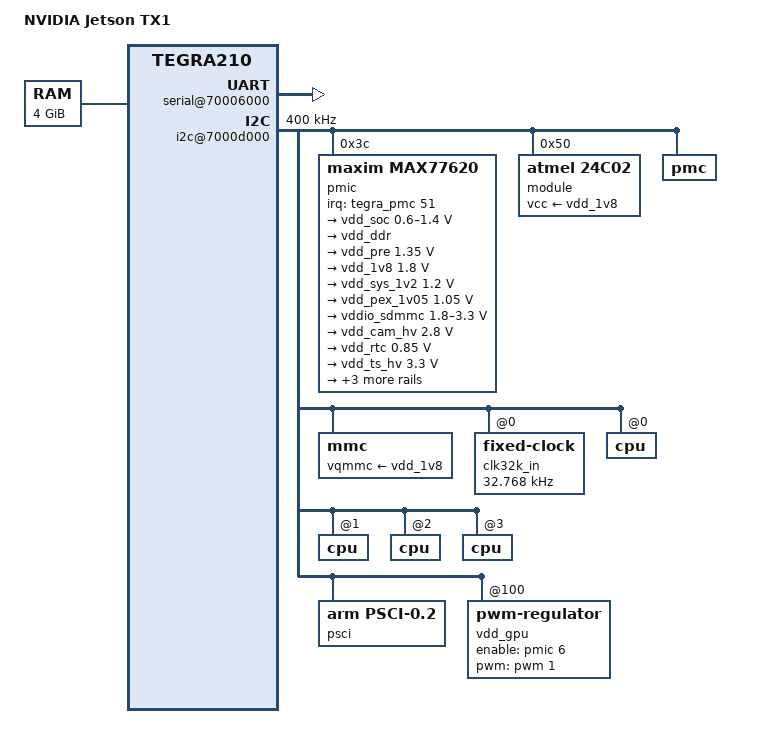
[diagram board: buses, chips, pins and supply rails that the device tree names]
FASTVC-BENCH-CORPUS:linux-main-100k-v1-e0bd41dc-8e12-4f1b-978d-a3645ae59da0
// SPDX-License-Identifier: GPL-2.0
#include <dt-bindings/mfd/max77620.h>

#include "tegra210.dtsi"

/ {
	model = "NVIDIA Jetson TX1";
	compatible = "nvidia,p2180", "nvidia,tegra210";

	aliases {
		rtc0 = "/i2c@7000d000/pmic@3c";
		rtc1 = "/rtc@7000e000";
		serial0 = &uarta;
	};

	chosen {
		stdout-path = "serial0:115200n8";
	};

	memory@80000000 {
		device_type = "memory";
		reg = <0x0 0x80000000 0x1 0x0>;
	};

	gpu@57000000 {
		vdd-supply = <&vdd_gpu>;
	};

	/* debug port */
	serial@70006000 {
		status = "okay";
	};

	i2c@7000d000 {
		status = "okay";
		clock-frequency = <400000>;

		pmic: pmic@3c {
			compatible = "maxim,max77620";
			reg = <0x3c>;
			interrupt-parent = <&tegra_pmc>;
			interrupts = <51 IRQ_TYPE_LEVEL_LOW>;

			#interrupt-cells = <2>;
			interrupt-controller;

			#gpio-cells = <2>;
			gpio-controller;

			pinctrl-names = "default";
			pinctrl-0 = <&max77620_default>;

			max77620_default: pinmux {
				gpio0 {
					pins = "gpio0";
					function = "gpio";
				};

				gpio1 {
					pins = "gpio1";
					function = "fps-out";
					drive-push-pull = <1>;
					maxim,active-fps-source = <MAX77620_FPS_SRC_0>;
					maxim,active-fps-power-up-slot = <7>;
					maxim,active-fps-power-down-slot = <0>;
				};

				gpio2_3 {
					pins = "gpio2", "gpio3";
					function = "fps-out";
					drive-open-drain = <1>;
					maxim,active-fps-source = <MAX77620_FPS_SRC_0>;
				};

				gpio4 {
					pins = "gpio4";
					function = "32k-out1";
				};

				gpio5_6_7 {
					pins = "gpio5", "gpio6", "gpio7";
					function = "gpio";
					drive-push-pull = <1>;
				};
			};

			fps {
				fps0 {
					maxim,fps-event-source = <MAX77620_FPS_EVENT_SRC_EN0>;
					maxim,suspend-fps-time-period-us = <1280>;
				};

				fps1 {
					maxim,fps-event-source = <MAX77620_FPS_EVENT_SRC_EN1>;
					maxim,suspend-fps-time-period-us = <1280>;
				};

				fps2 {
					maxim,fps-event-source = <MAX77620_FPS_EVENT_SRC_EN0>;
				};
			};

			regulators {
				in-ldo0-1-supply = <&vdd_pre>;
				in-ldo7-8-supply = <&vdd_pre>;
				in-sd3-supply = <&vdd_5v0_sys>;

				vdd_soc: sd0 {
					regulator-name = "VDD_SOC";
					regulator-min-microvolt = <600000>;
					regulator-max-microvolt = <1400000>;
					regulator-always-on;
					regulator-boot-on;

					regulator-enable-ramp-delay = <146>;
					regulator-ramp-delay = <27500>;

					maxim,active-fps-source = <MAX77620_FPS_SRC_1>;
				};

				vdd_ddr: sd1 {
					regulator-name = "VDD_DDR_1V1_PMIC";
					regulator-always-on;
					regulator-boot-on;

					regulator-enable-ramp-delay = <130>;
					regulator-ramp-delay = <27500>;

					maxim,active-fps-source = <MAX77620_FPS_SRC_0>;
				};

				vdd_pre: sd2 {
					regulator-name = "VDD_PRE_REG_1V35";
					regulator-min-microvolt = <1350000>;
					regulator-max-microvolt = <1350000>;

					regulator-enable-ramp-delay = <176>;
					regulator-ramp-delay = <27500>;

					maxim,active-fps-source = <MAX77620_FPS_SRC_1>;
				};

				vdd_1v8: sd3 {
					regulator-name = "VDD_1V8";
					regulator-min-microvolt = <1800000>;
					regulator-max-microvolt = <1800000>;
					regulator-always-on;
					regulator-boot-on;

					regulator-enable-ramp-delay = <242>;
					regulator-ramp-delay = <27500>;

					maxim,active-fps-source = <MAX77620_FPS_SRC_0>;
				};

				vdd_sys_1v2: ldo0 {
					regulator-name = "AVDD_SYS_1V2";
					regulator-min-microvolt = <1200000>;
					regulator-max-microvolt = <1200000>;
					regulator-always-on;
					regulator-boot-on;

					regulator-enable-ramp-delay = <26>;
					regulator-ramp-delay = <100000>;

					maxim,active-fps-source = <MAX77620_FPS_SRC_NONE>;
				};

				vdd_pex_1v05: ldo1 {
					regulator-name = "VDD_PEX_1V05";
					regulator-min-microvolt = <1050000>;
					regulator-max-microvolt = <1050000>;

					regulator-enable-ramp-delay = <22>;
					regulator-ramp-delay = <100000>;

					maxim,active-fps-source = <MAX77620_FPS_SRC_1>;
				};

				vddio_sdmmc: ldo2 {
					regulator-name = "VDDIO_SDMMC";
					regulator-min-microvolt = <1800000>;
					regulator-max-microvolt = <3300000>;
					regulator-always-on;
					regulator-boot-on;

					regulator-enable-ramp-delay = <62>;
					regulator-ramp-delay = <100000>;

					maxim,active-fps-source = <MAX77620_FPS_SRC_NONE>;
				};

				vdd_cam_hv: ldo3 {
					regulator-name = "VDD_CAM_HV";
					regulator-min-microvolt = <2800000>;
					regulator-max-microvolt = <2800000>;

					regulator-enable-ramp-delay = <50>;
					regulator-ramp-delay = <100000>;

					maxim,active-fps-source = <MAX77620_FPS_SRC_NONE>;
				};

				vdd_rtc: ldo4 {
					regulator-name = "VDD_RTC";
					regulator-min-microvolt = <850000>;
					regulator-max-microvolt = <850000>;
					regulator-always-on;
					regulator-boot-on;

					regulator-enable-ramp-delay = <22>;
					regulator-ramp-delay = <100000>;

					maxim,active-fps-source = <MAX77620_FPS_SRC_0>;
				};

				vdd_ts_hv: ldo5 {
					regulator-name = "VDD_TS_HV";
					regulator-min-microvolt = <3300000>;
					regulator-max-microvolt = <3300000>;

/* bench 16917.2.0 0a770bf0c082 */
/* bench 16917.2.1 50594fc2dc94 */
/* bench 16917.2.2 25a09b927cd4 */
/* bench 16917.2.3 1bb8aed62167 */
/* bench 16917.2.4 8f4ac17b9034 */
/* bench 16917.2.5 6e5ed1faf74b */
/* bench 16917.2.6 3ef6b79d8382 */
/* bench 16917.2.7 5aa329481e22 */
/* bench 16917.2.8 aae3383e2176 */
/* bench 16917.2.9 b711352ee981 */
/* bench 16917.2.10 a2418dcb980e */
/* bench 16917.2.11 64deba66a58c */
/* bench 16917.2.12 78d7dd4d774d */
/* bench 16917.2.13 cb95a0a35bc4 */
/* bench 16917.2.14 e993147a64df */
/* bench 16917.2.15 da33c08b0b70 */
/* bench 16917.2.16 5421a753ddbd */
/* bench 16917.2.17 b7072fb11a14 */
/* bench 16917.2.18 8c74ef2aac61 */
/* bench 16917.2.19 cb8db3ca2413 */
/* bench 16917.2.20 5d6d7f4cb049 */
/* bench 16917.2.21 f761c5febe7e */

					maxim,active-fps-source = <MAX77620_FPS_SRC_NONE>;
				};

				vdd_ts: ldo6 {
					regulator-name = "VDD_TS_1V8";
					regulator-min-microvolt = <1800000>;
					regulator-max-microvolt = <1800000>;

					regulator-enable-ramp-delay = <36>;
					regulator-ramp-delay = <100000>;

					maxim,active-fps-source = <MAX77620_FPS_SRC_0>;
					maxim,active-fps-power-up-slot = <7>;
/* bench 3952.1.0 c90ddadca5d3 */
/* bench 3952.1.1 848b3317af48 */
/* bench 3952.1.2 cc026fcb9737 */
/* bench 3952.1.3 071f61aa71cb */
/* bench 3952.1.4 e9c4ebe5c655 */
/* bench 3952.1.5 4375f0d30d6e */
/* bench 3952.1.6 cebfcf526cd2 */
/* bench 3952.1.7 b34657318b79 */
/* bench 3952.1.8 205750530ef3 */
/* bench 3952.1.9 fd1c8eb10bfd */
/* bench 3952.1.10 66e5bf88905d */
/* bench 3952.1.11 f1514f58f992 */
/* bench 3952.1.12 321855682eb6 */

				avdd_1v05_pll: ldo7 {
					regulator-name = "AVDD_1V05_PLL";
					regulator-min-microvolt = <1050000>;
					regulator-max-microvolt = <1050000>;
					regulator-always-on;
					regulator-boot-on;

					regulator-enable-ramp-delay = <24>;
					regulator-ramp-delay = <100000>;

					maxim,active-fps-source = <MAX77620_FPS_SRC_1>;
				};

				avdd_1v05: ldo8 {
					regulator-name = "AVDD_SATA_HDMI_DP_1V05";
					regulator-min-microvolt = <1050000>;
					regulator-max-microvolt = <1050000>;

					regulator-enable-ramp-delay = <22>;
					regulator-ramp-delay = <100000>;

					maxim,active-fps-source = <MAX77620_FPS_SRC_1>;
				};
			};
		};
	};

	i2c@7000c500 {
		status = "okay";

		/* module ID EEPROM */
		eeprom@50 {
			compatible = "atmel,24c02";
			reg = <0x50>;

			label = "module";
			vcc-supply = <&vdd_1v8>;
			address-width = <8>;
			pagesize = <8>;
			size = <256>;
			read-only;
		};
	};

	pmc@7000e400 {
		nvidia,invert-interrupt;
/* bench 27557.1.0 b1ca727c056e */
/* bench 27557.1.1 565f4760cae1 */
/* bench 27557.1.2 509a2c96a675 */
/* bench 27557.1.3 fcb1f0e6674d */
/* bench 27557.1.4 0df1c2ae23a0 */
/* bench 27557.1.5 90495ac2d77f */
/* bench 27557.1.6 aa27c7fd68f8 */
/* bench 27557.1.7 759c0042f8e8 */
/* bench 27557.1.8 4c21336bcb48 */
		nvidia,suspend-mode = <0>;
		nvidia,cpu-pwr-good-time = <0>;
		nvidia,cpu-pwr-off-time = <0>;
		nvidia,core-pwr-good-time = <4587 3876>;
		nvidia,core-pwr-off-time = <39065>;
		nvidia,core-power-req-active-high;
		nvidia,sys-clock-req-active-high;
	};

	/* eMMC */
	mmc@700b0600 {
		status = "okay";
		bus-width = <8>;
		non-removable;
		vqmmc-supply = <&vdd_1v8>;
	};

	clk32k_in: clock@0 {
		compatible = "fixed-clock";
		clock-frequency = <32768>;
		#clock-cells = <0>;
	};

	cpus {
		cpu@0 {
			enable-method = "psci";
		};

		cpu@1 {
			enable-method = "psci";
		};

		cpu@2 {
			enable-method = "psci";
		};

		cpu@3 {
			enable-method = "psci";
		};

		idle-states {
			cpu-sleep {
				status = "okay";
			};
		};
	};

	psci {
		compatible = "arm,psci-0.2";
		method = "smc";
	};

/* bench 17325.0.0 267c3e926bf9 */
/* bench 17325.0.1 e47cfa07cad5 */
/* bench 17325.0.2 1decc5a9358a */
/* bench 17325.0.3 3e6205146236 */
/* bench 17325.0.4 e1a2f393a862 */
/* bench 17325.0.5 efad19add7b2 */
/* bench 17325.0.6 09cd7dd3b28c */
/* bench 17325.0.7 cb982bb2f797 */
/* bench 17325.0.8 d056f933e7ff */
/* bench 17325.0.9 ea324a794787 */
/* bench 17325.0.10 bbf7f5fc81f2 */
	vdd_gpu: regulator@100 {
		compatible = "pwm-regulator";
		pwms = <&pwm 1 8000>;
		regulator-name = "VDD_GPU";
		regulator-min-microvolt = <710000>;
		regulator-max-microvolt = <1320000>;
		enable-gpios = <&pmic 6 GPIO_ACTIVE_HIGH>;
		regulator-ramp-delay = <80>;
		regulator-enable-ramp-delay = <2000>;
		regulator-settling-time-us = <160>;
	};
};
